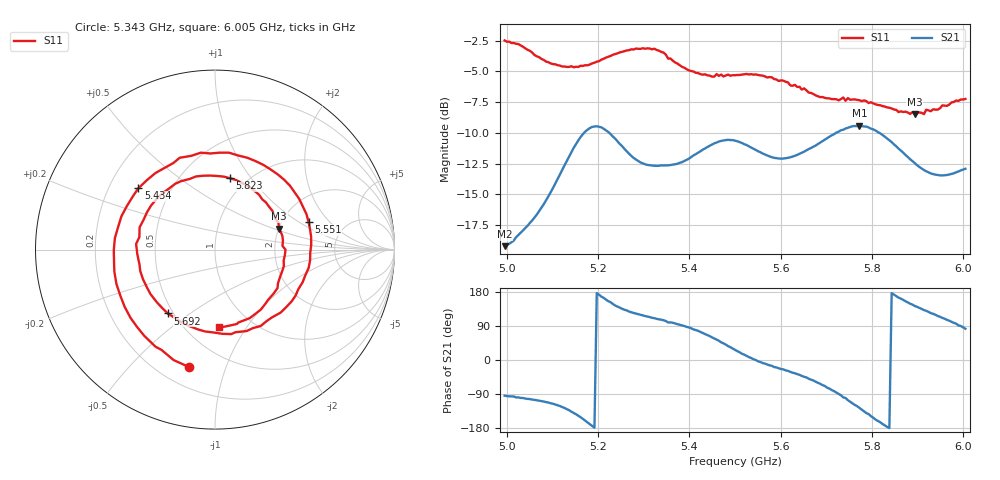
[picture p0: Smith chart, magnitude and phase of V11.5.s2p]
!File created by NanoVNA
# Hz S RI R 50
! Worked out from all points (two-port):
!   201 points, 4.995 GHz to 6.005 GHz, reference 50 ohm
!   highest |S21| = -9.42 dB at 5.773 GHz (marker M1); lowest = -19.2 dB at 4.995 GHz (marker M2)
!   |S21| within 3 dB of the highest: 5.129 GHz to 5.294 GHz (164.9 MHz wide, 3.16 % of centre); 5.38 GHz to 5.893 GHz (513 MHz wide, 9.1 % of centre)
!   lowest |S11| = -8.5 dB at 5.894 GHz (marker M3), VSWR 2.21, Z = 101 + j27.5 ohm
!   |S11| at or under -10 dB: nowhere
!   S12 and S22 are empty: the file has one direction only
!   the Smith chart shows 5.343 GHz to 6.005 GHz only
!   S11 on the Smith chart (normalised r, x): 5.343 GHz: 0.32, -0.75; 5.434 GHz: 0.33, +0.32; 5.551 GHz: 2.79, +1.22; 5.692 GHz: 0.47, -0.41; 5.823 GHz: 0.84, +0.80; 6.005 GHz: 0.71, -0.76
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4.995e9  0.2198 -0.7179  -0.00787 -0.1093  0 0  0 0
5.03035e9  -0.3077 -0.6468  -0.0219 -0.1223  0 0  0 0
5.0758e9  -0.626 -0.0832  -0.0498 -0.149  0 0  0 0
5.1263e9  -0.3408 0.4797  -0.139 -0.1875  0 0  0 0
5.1667e9  0.0992 0.5833  -0.285 -0.1286  0 0  0 0
5.2576e9  0.6705 -0.1098  -0.1843 0.2005  0 0  0 0
5.33335e9  -0.0111 -0.6825  -0.0693 0.2219  0 0  0 0
5.34345e9  -0.1448 -0.6543  -0.0604 0.2252  0 0  0 0
5.3889e9  -0.5491 -0.1919  0.000925 0.243  0 0  0 0
5.43435e9  -0.4275 0.3412  0.1009 0.2541  0 0  0 0
5.5e9  0.2227 0.4944  0.2631 0.1317  0 0  0 0
5.5505e9  0.5214 0.1538  0.2658 -0.0162  0 0  0 0
5.60605e9  0.4278 -0.2875  0.2261 -0.104  0 0  0 0
5.6717e9  -0.092 -0.4456  0.1629 -0.2252  0 0  0 0
5.6919e9  -0.2631 -0.3555  0.1179 -0.2678  0 0  0 0
5.73735e9  -0.4394 0.0318  -0.0491 -0.3221  0 0  0 0
5.7727e9  -0.2913 0.3153  -0.1999 -0.2726  0 0  0 0
5.8232e9  0.0831 0.3979  -0.3043 -0.0612  0 0  0 0
5.83835e9  0.1719 0.3615  -0.2949 -0.00169  0 0  0 0
5.8939e9  0.358 0.1171  -0.1895 0.1449  0 0  0 0
5.9545e9  0.3481 -0.2151  -0.0767 0.1982  0 0  0 0
6.005e9  0.0246 -0.4337  0.0295 0.2241  0 0  0 0
